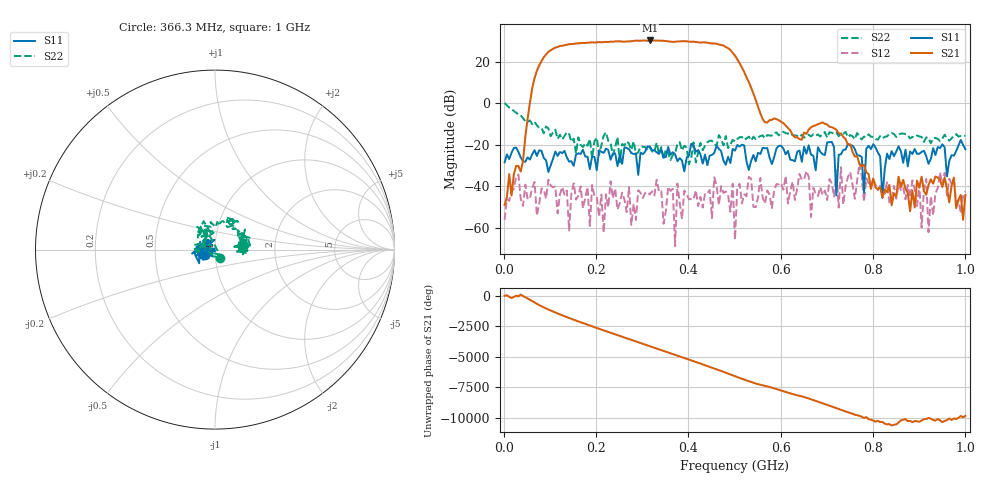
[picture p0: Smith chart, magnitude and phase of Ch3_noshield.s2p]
!Keysight Technologies N9923A: A.12.45
!Date: Friday, 10 October 2025 01:56:01
!Timezone: (UTC+08:00) Kuala Lumpur, Singapore
!Model: N9923A
!Serial: MY61181427
!GPS Latitude:
!GPS Longitude:
!GPS TimeStamp: 0001-01-01 00:00:00Z
!GPS Seconds Since Last Read: 0
!CHECKSUM:1989590192
!Correction: S11(ON U?)S21(ON U?)S12(ON U?)S22(ON U?)
!S2P File: Measurements:S11,S21,S12,S22:
# Hz S DB R 50
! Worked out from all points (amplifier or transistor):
!   201 points, 2 MHz to 1 GHz, reference 50 ohm
!   highest |S21| = 30.2 dB at 316.4 MHz (marker M1)
!   |S21| within 3 dB of that: 118.5 MHz to 480 MHz (361.5 MHz wide, 121 % of centre)
!   unconditionally stable (mu >= 1): 2.349 MHz to end of sweep
!   at 166.7 MHz: K = 1.94, MAG = 29.0 dB, |S12| = -40.2 dB
!   at 501 MHz: K = 68.00, MAG = 23.0 dB, |S12| = -65.8 dB
!   at 1 GHz: K = 10718.87, MAG = -44.2 dB, |S12| = -42.6 dB
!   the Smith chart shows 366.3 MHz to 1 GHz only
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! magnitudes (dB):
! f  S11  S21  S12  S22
! 2 MHz  -28.5  -49.1  -56.2  0.1
! 31.94 MHz  -23.6  -30.3  -34.5  -5.6
! 76.85 MHz  -22.7  18.1  -48.7  -11.8
! 171.7 MHz  -22.4  29.0  -50.8  -21.2
! 316.4 MHz  -20.9  30.2  -44.1  -21.2
! 336.3 MHz  -24.5  30.0  -42.7  -24.6
! 366.3 MHz  -23.7  29.5  -41.3  -25.1
! 371.3 MHz  -24.6  29.6  -68.9  -24.4
! 376.2 MHz  -28.0  29.7  -38.8  -19.6
! 496 MHz  -22.1  24.2  -38.9  -17.7
! 501 MHz  -22.9  22.9  -65.8  -18.5
! 506 MHz  -20.2  21.1  -40.5  -17.3
! 530.9 MHz  -32.2  10.1  -35.5  -16.2
! 670.7 MHz  -25.3  -11.0  -40.8  -15.0
! 710.6 MHz  -18.7  -11.6  -38.7  -14.2
! 720.6 MHz  -44.5  -12.9  -32.3  -14.2
! 755.5 MHz  -20.5  -23.4  -39.2  -15.9
! 780.4 MHz  -43.2  -29.7  -47.4  -16.2
! 800.4 MHz  -19.8  -36.3  -36.4  -16.3
! 820.4 MHz  -45.6  -45.5  -41.9  -17.0
! 835.3 MHz  -27.0  -39.4  -47.9  -14.8
! 1 GHz  -22.2  -44.3  -42.6  -15.7
